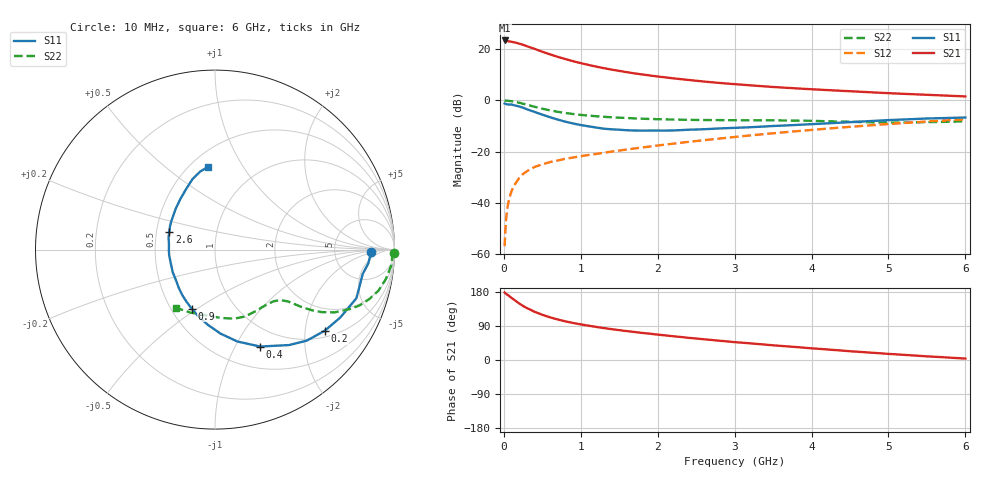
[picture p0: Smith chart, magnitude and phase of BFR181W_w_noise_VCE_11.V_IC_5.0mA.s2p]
! (c) 2017  Infineon Technologies AG, Munich
! Infineon Technologies  Discrete & RF Semiconductors
! BFR181W
! VCE =  11. V,  IC =  5.0 mA
! Common Emitter S-Parameters:  Jan 2017
# GHz  S  MA  R  50
!  f  S11  S21  S12  S22
! GHz  MAG  ANG  MAG  ANG  MAG  ANG  MAG  ANG
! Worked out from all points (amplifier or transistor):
!   77 points, 10 MHz to 6 GHz, reference 50 ohm
!   highest |S21| = 23.5 dB at 10 MHz (marker M1)
!   |S21| within 3 dB of that: start of sweep to 370.8 MHz
!   unconditionally stable (mu >= 1): 1.386 GHz to 3.456 GHz
!   at 130 MHz: K = 0.16, MSG = 28.2 dB, |S12| = -33.6 dB
!   at 2.2 GHz: K = 1.08, MAG = 11.1 dB, |S12| = -16.9 dB
!   at 6 GHz: K = 0.85, MSG = 4.5 dB, |S12| = -7.4 dB
!   lowest NFmin = 0.97 dB at 450 MHz
!   S11 on the Smith chart (normalised r, x): 10 MHz: 14, -2; 200 MHz: 1.19, -2.54; 400 MHz: 0.76, -1.27; 900 MHz: 0.63, -0.48; 2.6 GHz: 0.58, +0.12; 6 GHz: 0.61, +0.72
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0.01  0.8702 -1.0  14.95 178.3  0.0014 91.6  0.9972 -1.0
0.02  0.8578 -5.1  14.8 176.0  0.0029 93.5  0.9887 -1.7
0.04  0.8416 -7.9  14.58 173.2  0.0066 83.8  0.9875 -3.8
0.1  0.8331 -19.0  14.1 163.9  0.0167 79.8  0.9663 -9.7
0.15  0.7939 -28.5  13.58 156.5  0.0235 75.8  0.9391 -14.1
0.2  0.7603 -36.5  12.93 149.2  0.0304 72.9  0.9025 -17.8
0.25  0.72 -44.8  12.29 142.7  0.0364 68.2  0.8638 -21.1
0.3  0.673 -52.2  11.54 136.9  0.041 64.9  0.8229 -23.7
0.4  0.5961 -65.0  10.22 127.1  0.0499 60.7  0.7504 -27.8
0.5  0.527 -76.3  8.997 119.3  0.0559 58.3  0.6882 -30.4
0.6  0.4694 -86.2  7.995 112.6  0.0621 56.7  0.6386 -32.0
0.7  0.4215 -95.3  7.14 106.9  0.0666 56.0  0.5989 -33.0
0.9  0.3537 -111.5  5.863 97.7  0.0762 56.3  0.5423 -34.3
1.1  0.3112 -126.1  4.961 90.6  0.0857 57.1  0.5051 -35.2
1.3  0.2799 -139.7  4.282 84.2  0.0945 57.7  0.4784 -36.5
1.6  0.2608 -157.8  3.569 76.2  0.1093 59.4  0.4533 -38.8
2.1  0.2569 177.6  2.826 64.9  0.1366 60.8  0.4258 -44.6
2.6  0.2729 159.1  2.346 54.7  0.1662 61.0  0.4135 -52.1
3.1  0.2943 144.1  2.031 45.6  0.1993 60.0  0.4088 -59.8
4.1  0.349 122.0  1.626 29.4  0.2723 55.6  0.3951 -76.4
5.1  0.4178 106.2  1.367 14.9  0.3529 48.6  0.3696 -100.3
6  0.4632 94.6  1.199 3.8  0.4286 40.6  0.3907 -124.2
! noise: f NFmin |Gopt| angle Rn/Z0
0.45  0.97  0.33  16  0.23
0.9  1.03  0.3  30  0.23
1.9  1.44  0.15  80  0.2
2.4  1.59  0.13  94  0.22
